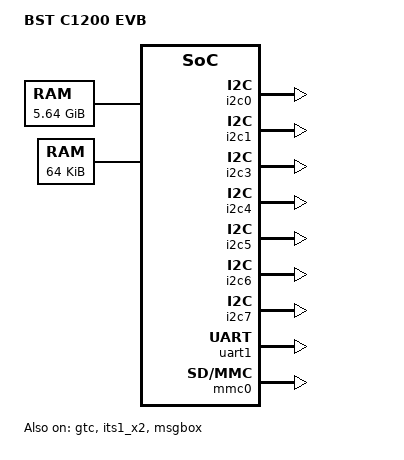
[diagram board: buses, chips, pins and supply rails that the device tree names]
// SPDX-License-Identifier: GPL-2.0+
/dts-v1/;
#include "bstc1200.dtsi"

/ {
	compatible = "bst,c1200";
	model = "BST C1200 EVB";

	chosen {
		bootargs = "earlycon=uart8250,mmio32,0x20008000 console=ttyS0,115200n8 rdinit=/sbin/init root=/dev/ram rw init=/linuxrc rodata=n";
		stdout-path = "uart0";
	};

	memory@8c0000000 {
		device_type = "memory";
		reg = < 0x8 0x10000000 0x0 0x30000000
			0x8 0xc0000000 0x1 0x0
			0xc 0x08000000 0x0 0x38000000
			0x8 0x1400000 0x0 0x1000000
		>;
	};

	// eMMC 64K
	memory@5160000 {
		device_type = "memory";
		reg = <0x0 0x5160000 0x0 0x10000>;
	};

	reserved-memory {
		#address-cells = <2>;
		#size-cells = <2>;
		ranges;

		scmi_buf_reserved: scmi_buf@800151000 {
			compatible = "shared-dma-pool";
			reg = <0x8 0x151000 0x0 0x1000>;
			no-map;
		};

		scmi_buf_reserved1: scmi_buf1@800254000 {
			compatible = "shared-dma-pool";
			reg = <0x8 0x254000 0x0 0x1000>;
			no-map;
		};

		bst_sramemmc0_reserved: bst_sramemmc0@5160000{
			compatible = "shared-dma-pool";
			reg = <0x0 0x5160000 0x0 0x10000>;
			no-map;
		};

		bst_optee_reserved: bst_optee@801400000 {
			compatible = "shared-dma-pool";
			reg = <0x8 0x1400000 0x0 0x1000000>;
			no-map;
		};

		bst_ipc_reserved: bst_ipc@80ff00000 {
			compatible = "shared-dma-pool";
			reg = <0x8 0x0ff00000 0x0 0x100000>;
			no-map;
		};

	};


/****************************************************************************************/
/*	c0_lockstep/c1_split	1 + 5: c0 0x0 + c0 0x100 \ c1 0x0 ~ 0x300
 *	c0_lockstep/c1_lockstep	1 + 3: c0 0x0 + c0 0x100 \ c1 0x0 ~ 0x100
 *	split			2 + 6: c0 0x0 ~ 0x100 + c0 0x200 ~ 0x300 \ c1 0x0 ~ 0x300
 *	split			4 + 4: c0 0x0 ~ 0x300 + c1 0x0 ~ 0x300
 */
/****************************************************************************************/
	cpus {
		#address-cells = <1>;
		#size-cells = <0>;

		/* cluster 0
		cpu_l0: cpu@0 {
			compatible = "arm,cortex-a78", "arm,armv8";
			device_type = "cpu";
			enable-method = "psci";
			next-level-cache = <&l2_0>;
			reg = <0x0>;
		};
		cpu_l1: cpu@1 {
			compatible = "arm,cortex-a78", "arm,armv8";
			device_type = "cpu";
			enable-method = "psci";
			next-level-cache = <&l2_0>;
			reg = <0x100>;
		};
		cpu_l2: cpu@2 {
			compatible = "arm,cortex-a78", "arm,armv8";
			device_type = "cpu";
			enable-method = "psci";
			next-level-cache = <&l2_0>;
			reg = <0x200>;
		};
		cpu_l3: cpu@3 {
			compatible = "arm,cortex-a78", "arm,armv8";
			device_type = "cpu";
			enable-method = "psci";
			next-level-cache = <&l2_0>;
			reg = <0x300>;
		};

		l2_0: l2-cache-0 {
			compatible = "cache";
		};*/

		/* cluster 1 */
		cpu_b0: cpu@100 {
			compatible = "arm,cortex-a78", "arm,armv8";
			device_type = "cpu";
			enable-method = "psci";
			next-level-cache = <&l2_1>;
			reg = <0x10000>;
		};
		cpu_b1: cpu@101 {
			compatible = "arm,cortex-a78", "arm,armv8";
			device_type = "cpu";
			enable-method = "psci";
			next-level-cache = <&l2_1>;
			reg = <0x10100>;
		};
		cpu_b2: cpu@102 {
			compatible = "arm,cortex-a78", "arm,armv8";
			device_type = "cpu";
			enable-method = "psci";
			next-level-cache = <&l2_1>;
			reg = <0x10200>;
		};
		cpu_b3: cpu@103 {
			compatible = "arm,cortex-a78", "arm,armv8";
			device_type = "cpu";
			enable-method = "psci";
			next-level-cache = <&l2_1>;
			reg = <0x10300>;
		};

		l2_1: l2-cache-1 {
			compatible = "cache";
		};
	};

	psci {
		compatible	= "arm,psci-1.0";
		method		= "smc";
		cpu_on		= <0xC4000003>;
		cpu_off		= <0x84000002>;
		cpu_suspend	= <0xC4000001>;
	};

	firmware {
		optee {
                compatible = "linaro,optee-tz";
                method = "smc";
                chip-number = <2>;
        };
	};

	tee {
		#address-cells = <0x2>;
		#size-cells = <0x2>;
		reg = <0x0 0x18060000 0x0 0x1f000>;
		memory-region = <&bst_optee_reserved>;
		mbox-names = "bst-mbox";
		chip-number = <2>;
	};
};

	&firmware_scmi {

		shmem = <&scmi_buf_reserved>;
		reg = <0x0 0x20011014 0 0x14>;
		status = "okay";

		scmi_voltage: protocol@17 {

			regulators {
				#address-cells = <1>;
				#size-cells = <0>;
				v_qmmc: regulator {
					reg = <0>;
					regulator-name = "voltage_qmmc";
					regulator-min-microvolt = <1800000>;
					regulator-max-microvolt = <3300000>;
					regulator-always-on;
				};
			};

		};

		scmi_pinctrl: protocol@19 {

			isp_pinctrl:isp_pinctrl {
				mux {
					pins = "WK_GPIO33", "WK_GPIO34","WK_GPIO35";
					function = "isp";
				};
			};
			hpd_pinctrl:hpd_pinctrl {
				mux {
					pins = "EDP_HPD";
					function = "edp";
				};
			};
			lvds0_pinconfig:lvds0_pinconfig {
				config {
					pins = "LVDS0_ODD_TX0", "LVDS0_ODD_TX1", "LVDS0_ODD_TX2", "LVDS0_ODD_TX3", "LVDS0_ODD_CLKN";
					input-enable;
				};
			};
			lvds1_pinconfig:lvds1_pinconfig {
				config {
					pins = "LVDS0_EVEN_TX0", "LVDS0_EVEN_TX1", "LVDS0_EVEN_TX2", "LVDS0_EVEN_TX3", "LVDS0_EVEN_CLKN";
					input-enable;
				};
			};
			soc_xgmac_pinctrl:soc_xgmac_pinctrl {
				mux {
					pins = "SC_UART2_TXD", "SC_UART2_RXD";    //PAD NAME
					function = "xgmac"; 
				};
			};
		};
	};


&i2c0 {
	status = "okay";
};
&i2c1 {
	status = "okay";
};
&i2c2 {
	status = "disable";
};
&i2c3 {
	status = "okay";
};
&i2c4 {
	status = "okay";
};
&i2c5 {
	status = "okay";
};
&i2c6 {
	status = "okay";
};
&i2c7 {
	status = "okay";
};

&uart0 {
	status = "disable";
};
&uart1 {
	status = "okay";
};
&uart2 {
	status = "disable";
};
&uart3 {
	status = "disable";
};

&spi0 {
	status = "disable";
};
&spi1 {
	status = "disable";
};
&spi2 {
	status = "disable";
};
&spi3 {
	status = "disable";
};

&i2s0 {
	status = "disable";
};
&i2s1 {
	status = "disable";
};
&i2s2 {
	status = "disable";
};
&i2s3 {
	status = "disable";
};

&tdm0 {
	status = "disable";
};
&tdm1 {
	status = "disable";
};
&tdm2 {
	status = "disable";
};
&tdm3 {
	status = "disable";
};

&watchdog0 {
	status = "disable";
};
&watchdog1 {
	status = "disable";
};
&watchdog2 {
	status = "disable";
};
&watchdog3 {
	status = "disable";
};
&watchdog_soc0 {
	status = "disable";
};
&watchdog_soc1 {
	status = "disable";
};
&watchdog_soc2 {
	status = "disable";
};
&watchdog_soc3 {
	status = "disable";
};

&watchdog_soc4 {
	status = "disable";
};
&watchdog_soc5 {
	status = "disable";
};
&watchdog_soc6 {
	status = "disable";
};
&watchdog_soc7 {
	status = "disable";
};
&watchdog_db0 {
	status = "disable";
};
&watchdog_db1 {
	status = "disable";
};
&watchdog_db2 {
	status = "disable";
};
&watchdog_db3 {
	status = "disable";
};

&lsp0_pwm0 {
	status = "disable";
};
&lsp1_pwm0 {
	status = "disable";
};

&gpio0 {
	status = "okay";
	pinctrl-names = "default";
	pinctrl-0 = <&isp_pinctrl>;
};
&gpio1 {
	status = "okay";
};
&gpio2 {
	status = "okay";
};
&gpio3 {
	status = "okay";
};
&gpio4 {
	status = "okay";
};
&gpio5 {
	status = "okay";
};
&gpio6 {
	status = "okay";
};
&gpio7 {
	status = "okay";
};
&gpiokeys {
	status = "disable";
};

&mmu600_soc{
	//status = "okay";
};

&usbdwc3{
	//iommus = <&mmu600_soc 1>;
};
&usbdwc2{
	//iommus = <&mmu600_soc 2>;
};
&usbdrd_dwc3 {
	status = "disable";
};
&dwc3 {
	status = "disable";
};

&mmc0 {
	memory-region = <&bst_sramemmc0_reserved>;
	status = "okay";
};
&mmc1 {
	status = "disable";
};

&mmu600_pcie {
	status = "disable";
};
&mmu600_codec {
	status = "disable";
};
&mmu600_soc {
	status = "disable";
};

&ufs {
	status = "disable";
};

&pcie_phy {
	dmc-lane = <0x1>; /* bit0: 1=2x2ports, 0=1x4ports */
	dmc-mode = <0x3>; /* (bit1 for ctl0)/(bit0 for ctl1):1=RC-mode, 0=EP-mode */
	pcie-ctl0 = <1>;  /* Controller reset */
	pcie-ctl1 = <1>;  /* Controller reset */
	pcie-ref-clk0 = <1>; /* 0=onchip_clk, 1=pad_clk*/
	pcie-ref-clk1 = <1>; /* 0=onchip_clk, 1=pad_clk, 2=repeat_clk */
};

&codec0 {
	status = "disable";
};

&mipi_dsi0 {
	status = "disable";
};
&mipi_dsi1 {
	status = "disable";
};
&mipi_csr {
	status = "disable";
};

&bst_dptx {
	status = "disable";
};

&xrp0 {
	status = "disable";
};

&pinctrl {
	status = "disable";
};

&gtc {
	status = "okay";
};

&xgmac0 {
	status = "disable";
};

&hif {
	status = "disable";
};

&gic600 {
	status = "okay";
};

&its1_x2 {
	status = "okay";
};

&ipc {
	status = "okay";
	memory-region = <&bst_ipc_reserved>;
};

&mbox {
	status = "okay";
	memory-region = <&bst_ipc_reserved>;
};


&msgbox {
	status = "okay";
	spi-irq-num = <4>;
	filter-num = <8>;
	// id = <0x0>;
	// end0 and end1 spi irq
	interrupts =    <
			GIC_PPI 2 (GIC_CPU_MASK_SIMPLE(8) | IRQ_TYPE_LEVEL_LOW)
			GIC_PPI 3 (GIC_CPU_MASK_SIMPLE(8) | IRQ_TYPE_LEVEL_LOW)
			GIC_PPI 4 (GIC_CPU_MASK_SIMPLE(8) | IRQ_TYPE_LEVEL_LOW)
			GIC_PPI 15 (GIC_CPU_MASK_SIMPLE(8) | IRQ_TYPE_LEVEL_LOW)
            GIC_SPI 560 (IRQ_TYPE_LEVEL_HIGH)
            GIC_SPI 561 (IRQ_TYPE_LEVEL_HIGH)
            GIC_SPI 562 (IRQ_TYPE_LEVEL_HIGH)
            GIC_SPI 563 (IRQ_TYPE_LEVEL_HIGH)
            GIC_SPI 564 (IRQ_TYPE_LEVEL_HIGH)
            GIC_SPI 565 (IRQ_TYPE_LEVEL_HIGH)
            GIC_SPI 566 (IRQ_TYPE_LEVEL_HIGH)
            GIC_SPI 567 (IRQ_TYPE_LEVEL_HIGH)
            GIC_SPI 568 (IRQ_TYPE_LEVEL_HIGH)
            GIC_SPI 569 (IRQ_TYPE_LEVEL_HIGH)
            GIC_SPI 570 (IRQ_TYPE_LEVEL_HIGH)
            GIC_SPI 571 (IRQ_TYPE_LEVEL_HIGH)
            GIC_SPI 572 (IRQ_TYPE_LEVEL_HIGH)
            GIC_SPI 573 (IRQ_TYPE_LEVEL_HIGH)
            GIC_SPI 574 (IRQ_TYPE_LEVEL_HIGH)
            GIC_SPI 575 (IRQ_TYPE_LEVEL_HIGH)
			>;
	#mbox-cells = <0x1>;
};

&arm_pmu {
	status = "disable";
};
